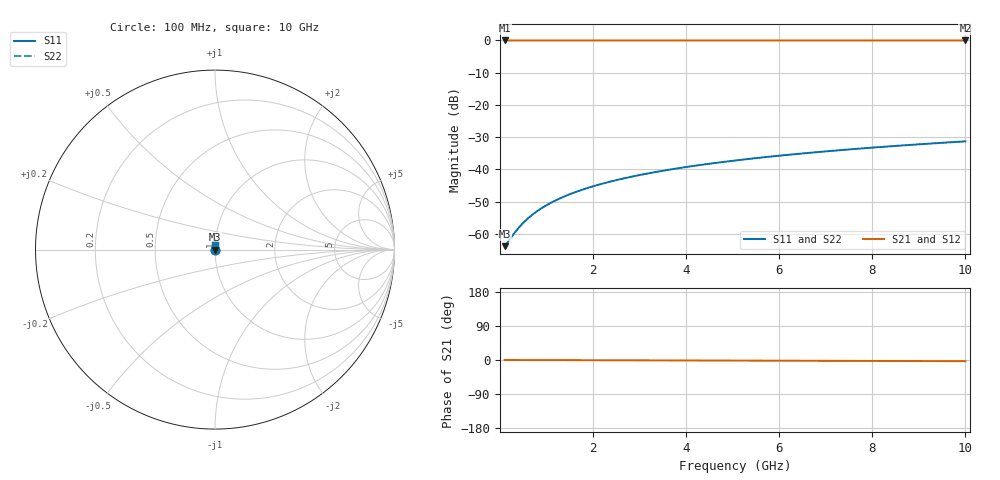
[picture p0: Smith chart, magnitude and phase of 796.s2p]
# Hz S RI R 50.00
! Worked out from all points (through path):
!   100 points, 100 MHz to 10 GHz, reference 50 ohm
!   highest |S21| = -0.01 dB at 100 MHz (marker M1); lowest = 0.0 dB at 10 GHz (marker M2)
!   lowest |S11| = -63.8 dB at 100 MHz (marker M3), VSWR 1.00, Z = 50.1 + j0.0271 ohm
!   |S11| at or under -10 dB: start of sweep to end of sweep
!   |S22| runs from -63.8 to -31.3 dB; largest |S21 - S12| = 0
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1e8  0.000584 0.000271  0.9994 -0.000539  0.9994 -0.000539  0.000584 0.000271
3e8  0.000591 0.000812  0.9994 -0.00162  0.9994 -0.00162  0.000591 0.000812
4e8  0.000594 0.00108  0.9994 -0.00216  0.9994 -0.00216  0.000594 0.00108
5e8  0.000598 0.00135  0.9994 -0.0027  0.9994 -0.0027  0.000598 0.00135
6e8  0.000601 0.00162  0.9994 -0.00324  0.9994 -0.00324  0.000601 0.00162
7e8  0.000604 0.0019  0.9994 -0.00378  0.9994 -0.00378  0.000604 0.0019
8e8  0.000608 0.00217  0.9994 -0.00431  0.9994 -0.00431  0.000608 0.00217
1e9  0.000615 0.00271  0.9994 -0.00539  0.9994 -0.00539  0.000615 0.00271
1.2e9  0.000624 0.00325  0.9994 -0.00647  0.9994 -0.00647  0.000624 0.00325
1.5e9  0.000639 0.00406  0.9993 -0.00809  0.9993 -0.00809  0.000639 0.00406
1.8e9  0.000656 0.00487  0.9993 -0.00971  0.9993 -0.00971  0.000656 0.00487
2.1e9  0.000675 0.00569  0.9993 -0.0113  0.9993 -0.0113  0.000675 0.00569
2.5e9  0.000704 0.00677  0.9993 -0.0135  0.9993 -0.0135  0.000704 0.00677
2.9e9  0.000738 0.00785  0.9992 -0.0156  0.9992 -0.0156  0.000738 0.00785
3.4e9  0.000787 0.00921  0.9992 -0.0183  0.9992 -0.0183  0.000787 0.00921
4.2e9  0.000881 0.0114  0.999 -0.0227  0.999 -0.0227  0.000881 0.0114
5.1e9  0.00101 0.0138  0.9989 -0.0275  0.9989 -0.0275  0.00101 0.0138
5.9e9  0.00114 0.016  0.9987 -0.0319  0.9987 -0.0319  0.00114 0.016
6.7e9  0.00129 0.0181  0.9985 -0.0362  0.9985 -0.0362  0.00129 0.0181
7.5e9  0.00146 0.0203  0.9983 -0.0405  0.9983 -0.0405  0.00146 0.0203
8.4e9  0.00168 0.0228  0.998 -0.0454  0.998 -0.0454  0.00168 0.0228
1e10  0.00212 0.0271  0.9975 -0.0541  0.9975 -0.0541  0.00212 0.0271
